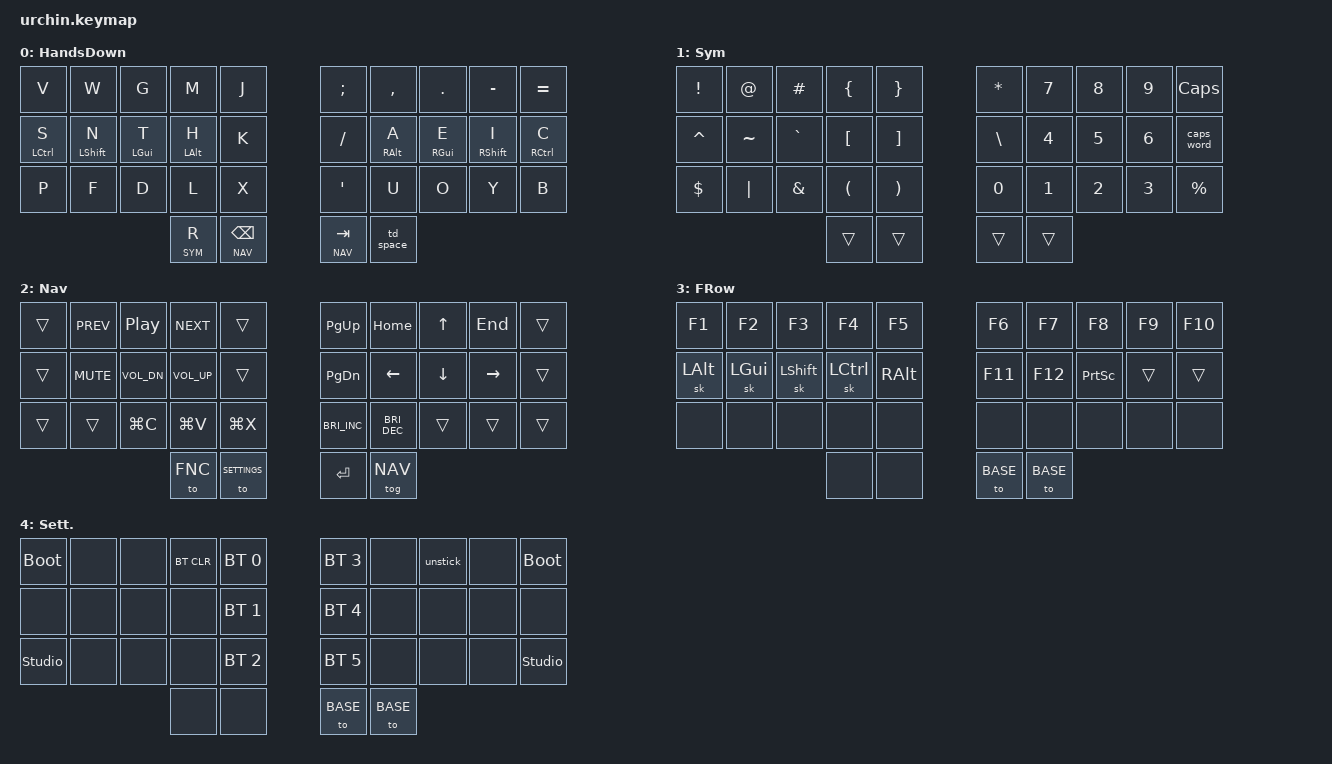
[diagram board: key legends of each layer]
#include <behaviors.dtsi>
#include <dt-bindings/zmk/keys.h>
#include <dt-bindings/zmk/bt.h>
#include <dt-bindings/zmk/outputs.h>
#include "keymap_italian.h"

// Layer definitions
#define BASE 0
#define SYM 1
#define NAV 2
#define FNC 3
#define SETTINGS 4
// -----------------

#include "macros.dtsi"
#include "behaviors.dtsi"
#include "combos.dtsi"

&sk {
	// don't release mods on other mods presses
	ignore-modifiers;
};
&mt {
    flavor = "hold-preferred";
    tapping-term-ms = <150>;    // Reduced from default 200ms
    quick-tap-ms = <100>;       // Enable rapid tap sequences
    require-prior-idle-ms = <50>; // Wait 50ms after last key
};

/ {
	keymap {
		compatible = "zmk,keymap";
		// Base alpha layer
		default_layer {
			label = "HandsDown";
			bindings = <
			&kp V         &kp W          &kp G        &kp M            &kp J    	&kp SEMICOLON  &kp COMMA          &kp PERIOD   &kp MINUS      &kp EQUAL
      &hm LCTRL S   &hm LSHIFT N   &hm LGUI T   &hm LEFT_ALT H   &kp K	    &kp SLASH      &hm RIGHT_ALT A    &hm RGUI E   &hm RSHIFT I   &hm RCTRL C
      &kp P         &kp F          &kp D        &kp L            &kp X      &kp SQT        &kp U              &kp O        &kp Y          &kp B
                                                    &lt SYM R    &lt NAV BSPC      &lt NAV TAB  &td_space
			>;
		};

		// Numbers and high frequency symbols
		sym_layer {
			label = "Sym";
			bindings = <
      &kp EXCL  &kp AT    &kp HASH  &kp LBRC &kp RBRC    &kp ASTERISK  &kp N7 &kp N8 &kp N9 &kp CAPS
      &kp CARET &kp TILDE &kp GRAVE &kp LBKT &kp RBKT    &kp BSLH   &kp N4 &kp N5 &kp N6 &caps_word
      &kp DOLLAR  &kp PIPE  &kp AMPS  &kp LPAR &kp RPAR    &kp N0 &kp N1 &kp N2 &kp N3 &kp PERCENT
                                       &trans  &trans       &trans &trans
			>;
		};

		// Nav and medium controls
		nav_layer {
			label = "Nav";
			bindings = <
			&trans &kp C_PREV  &kp C_PP      &kp C_NEXT   &trans    	&kp PG_UP  &kp HOME  &kp UP &kp END &trans
		  &trans &kp C_MUTE  &kp C_VOL_DN  &kp C_VOL_UP &trans 		    &kp PG_DN  &kp LEFT  &kp DOWN  &kp RIGHT &trans
			&trans &trans &kp LG(C) &kp LG(V) &kp LG(X)       	&kp C_BRI_INC &kp C_BRI_DEC &trans &trans &trans
																		&to FNC &to SETTINGS    &kp ENTER  &tog NAV
			>;
		};

		// Function keys with modifiers
		fnc_layer {
			label = "FRow";
			bindings = <
			&kp F1 &kp F2 &kp F3 &kp F4 &kp F5                  &kp F6 &kp F7 &kp F8 &kp F9 &kp F10
			&sk LALT &sk LGUI &sk LSHIFT &sk LCTRL &kp RALT     &kp F11 &kp F12  &kp PRINTSCREEN &trans &trans
			&none &none &none &none &none				          &none &none &none &none &none
							  &none &none              &to BASE &to BASE
			>;
		};

		// Used to change the keyboard's settings.
		settings_layer {
				label = "Sett.";
				bindings = <
				&bootloader &none &none &bt BT_CLR &bt BT_SEL 0               &bt BT_SEL 3 &none &unstick &none &bootloader
				&none &none &none &none      &bt BT_SEL 1 						  &bt BT_SEL 4 &none &none &none &none
					&studio_unlock &none &none &none      &bt BT_SEL 2               &bt BT_SEL 5 &none &none &none &studio_unlock
										&none &none                         &to BASE &to BASE
					>;
			};
	};
};
